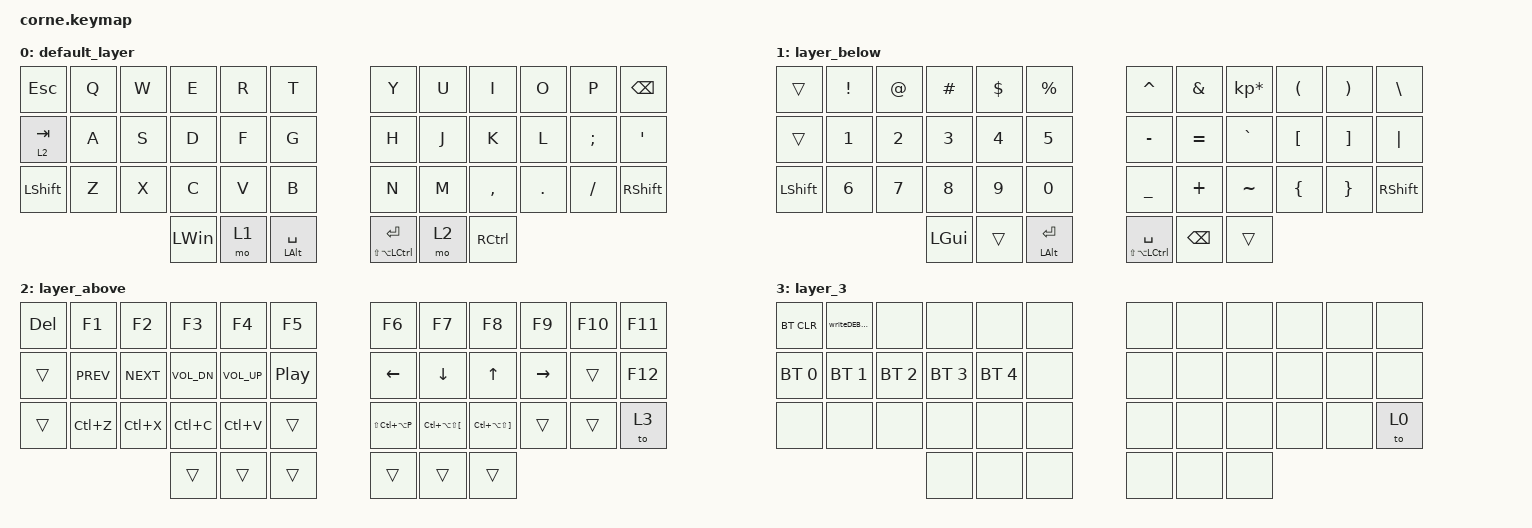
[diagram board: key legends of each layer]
/*
 * Copyright (c) 2020 The ZMK Contributors
 *
 * SPDX-License-Identifier: MIT
 */

#include <behaviors.dtsi>
#include <dt-bindings/zmk/bt.h>
#include <dt-bindings/zmk/keys.h>

/ {
    behaviors {
        tp: tap_preferred {
            compatible = "zmk,behavior-hold-tap";
            label = "TAP_PREFERRED";
            #binding-cells = <2>;
            tapping-term-ms = <150>;
            quick-tap-ms = <0>;
            flavor = "tap-preferred";
            bindings = <&kp>, <&kp>;
        };
    };

    macros {
        mouseClick: mouseClick {
            compatible = "zmk,behavior-macro";
            #binding-cells = <0>;
            bindings = <&mouseClick>;
            label = "MOUSECLICK";
            wait-ms = <10>;
            tap-ms = <1>;
        };

        writeDEBLOG: writeDEBLOG {
            compatible = "zmk,behavior-macro";
            #binding-cells = <0>;
            bindings = <&none &kp LS(D) &kp E &kp B &kp U &kp G &kp DOT &kp LS(L) &kp O &kp G &kp LPAR &kp RPAR &kp SEMI &kp LEFT &kp LEFT>;
            label = "WRITEDEBLOG";
        };
    };

    keymap {
        compatible = "zmk,keymap";

        default_layer {
            // -----------------------------------------------------------------------------------------
            // | TAB  |  Q  |  W  |  E  |  R  |    T    |   |  Y  |  U   |  I  |  O  |  P  | ESC |
            // | CTRL |  A  |  S  |  D  |  F  |    G    |   |  H  |  J   |  K  |  L  |  ;  |  LWR/'   |
            // | SHFT |  Z  |  X  |  C  |  V  |    B    |   |  N  |  M   |  ,  |  .  |  /  | SHFT |
            //                    | GUI | LWR | ALT/ENT |   | HYPER/SPC | BKSP  | RSE |

            bindings = <
&kp ESCAPE  &kp Q  &kp W  &kp E         &kp R  &kp T             &kp Y                         &kp U  &kp I      &kp O    &kp P     &kp BACKSPACE
&lt 2 TAB   &kp A  &kp S  &kp D         &kp F  &kp G             &kp H                         &kp J  &kp K      &kp L    &kp SEMI  &kp SQT
&kp LSHFT   &kp Z  &kp X  &kp C         &kp V  &kp B             &kp N                         &kp M  &kp COMMA  &kp DOT  &kp FSLH  &kp RIGHT_SHIFT
                          &kp LEFT_WIN  &mo 1  &tp LALT SPACE    &tp LS(LA(LEFT_CONTROL)) RET  &mo 2  &kp RCTRL
            >;
        };

        layer_below {
            // -----------------------------------------------------------------------------------------
            // |      |  !  |  @  |  #  |  $  |    %     |   |  ^  |  &  |  *  |  (  |  )  |   \   |
            // |      |  1  |  2  |  3  |  4  |    5     |   |  -  |  =  |  `  |  [  |  ]  |  "|"  |
            // | SHFT |  6  |  7  |  8  |  9  |    0     |   |  _  |  +  |  ~  |  {  |  }  | RSHFT |
            //                     | GUI |     | ALT/ENT |   | HYPER/SPACE | BKSP |    |

            bindings = <
&trans     &kp EXCL  &kp AT  &kp HASH  &kp DLLR  &kp PRCNT       &kp CARET                &kp AMPS   &kp KP_MULTIPLY  &kp LPAR  &kp RPAR  &kp BSLH
&trans     &kp N1    &kp N2  &kp N3    &kp N4    &kp N5          &kp MINUS                &kp EQUAL  &kp GRAVE        &kp LBKT  &kp RBKT  &kp PIPE
&kp LSHFT  &kp N6    &kp N7  &kp N8    &kp N9    &kp N0          &kp UNDER                &kp PLUS   &kp TILDE        &kp LBRC  &kp RBRC  &kp RSHFT
                             &kp LGUI  &trans    &tp LALT RET    &tp LS(LA(LCTRL)) SPACE  &kp BSPC   &trans
            >;
        };

        layer_above {
            // -----------------------------------------------------------------------------------------
            // |       |  F1  |  F2  |  F3  |  F4  |  F5 |            |  F6  |  F7  |  F8  |  F9  |  F10  |   |
            // |       | Prev | Next | Vol - | Vol + | Play/Pause |   |      | LFT | DWN |  UP | RGT |     |     |
            // | BTCLR | BT1 | BT2 | BT3 | BT4 | BT5 |   |            |     |     |     |     |     |     |
            //                    |     |     |    |                  |     |     |     |

            bindings = <
&kp DELETE  &kp F1      &kp F2      &kp F3        &kp F4        &kp F5      &kp F6             &kp F7                        &kp F8                         &kp F9     &kp F10  &kp F11
&trans      &kp C_PREV  &kp C_NEXT  &kp C_VOL_DN  &kp C_VOL_UP  &kp C_PP    &kp LEFT           &kp DOWN                      &kp UP                         &kp RIGHT  &trans   &kp F12
&trans      &kp LC(Z)   &kp LC(X)   &kp LC(C)     &kp LC(V)     &trans      &kp LS(LC(LA(P)))  &kp LC(LA(LS(LEFT_BRACKET)))  &kp LC(LA(LS(RIGHT_BRACKET)))  &trans     &trans   &to 3
                                    &trans        &trans        &trans      &trans             &trans                        &trans
            >;
        };

        layer_3 {
            bindings = <
&bt BT_CLR    &writeDEBLOG  &none         &none         &none         &none    &none  &none  &none  &none  &none  &none
&bt BT_SEL 0  &bt BT_SEL 1  &bt BT_SEL 2  &bt BT_SEL 3  &bt BT_SEL 4  &none    &none  &none  &none  &none  &none  &none
&none         &none         &none         &none         &none         &none    &none  &none  &none  &none  &none  &to 0
                                          &none         &none         &none    &none  &none  &none
            >;
        };
    };
};
